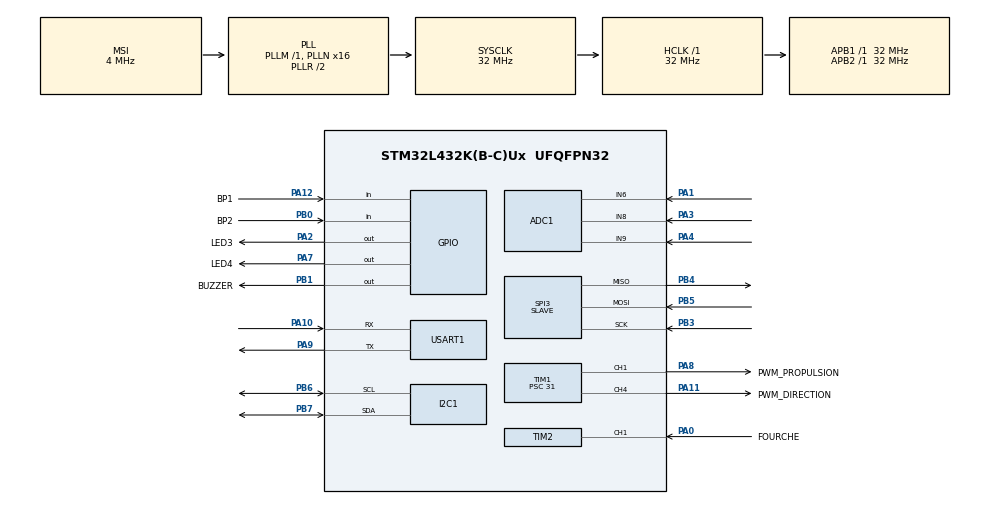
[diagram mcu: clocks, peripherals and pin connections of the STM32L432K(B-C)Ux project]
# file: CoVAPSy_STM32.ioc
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ADC1.Channel-0\#ChannelRegularConversion=ADC_CHANNEL_6
ADC1.Channel-1\#ChannelRegularConversion=ADC_CHANNEL_8
ADC1.Channel-2\#ChannelRegularConversion=ADC_CHANNEL_9
ADC1.ClockPrescaler=ADC_CLOCK_ASYNC_DIV1
ADC1.ContinuousConvMode=DISABLE
ADC1.DMAContinuousRequests=ENABLE
ADC1.DiscontinuousConvMode=DISABLE
ADC1.EOCSelection=ADC_EOC_SEQ_CONV
ADC1.NbrOfConversion=3
ADC1.NbrOfConversionFlag=1
ADC1.OffsetNumber-0\#ChannelRegularConversion=ADC_OFFSET_NONE
ADC1.OffsetNumber-1\#ChannelRegularConversion=ADC_OFFSET_NONE
ADC1.OffsetNumber-2\#ChannelRegularConversion=ADC_OFFSET_NONE
ADC1.Overrun=ADC_OVR_DATA_OVERWRITTEN
ADC1.Rank-0\#ChannelRegularConversion=1
ADC1.Rank-1\#ChannelRegularConversion=2
ADC1.Rank-2\#ChannelRegularConversion=3
ADC1.SamplingTime-0\#ChannelRegularConversion=ADC_SAMPLETIME_2CYCLES_5
ADC1.SamplingTime-1\#ChannelRegularConversion=ADC_SAMPLETIME_2CYCLES_5
ADC1.SamplingTime-2\#ChannelRegularConversion=ADC_SAMPLETIME_2CYCLES_5
ADC1.master=1
Dma.ADC1.0.Direction=DMA_PERIPH_TO_MEMORY
Dma.ADC1.0.Instance=DMA1_Channel1
Dma.ADC1.0.MemDataAlignment=DMA_MDATAALIGN_WORD
Dma.ADC1.0.MemInc=DMA_MINC_ENABLE
Dma.ADC1.0.Mode=DMA_CIRCULAR
Dma.ADC1.0.PeriphDataAlignment=DMA_PDATAALIGN_WORD
Dma.ADC1.0.PeriphInc=DMA_PINC_DISABLE
Dma.ADC1.0.Priority=DMA_PRIORITY_LOW
Dma.Request0=ADC1
Dma.Request1=SPI3_TX
Dma.Request2=SPI3_RX
Dma.SPI3_RX.2.Direction=DMA_PERIPH_TO_MEMORY
Dma.SPI3_RX.2.Instance=DMA2_Channel1
Dma.SPI3_RX.2.MemDataAlignment=DMA_MDATAALIGN_BYTE
Dma.SPI3_RX.2.MemInc=DMA_MINC_ENABLE
Dma.SPI3_RX.2.Mode=DMA_CIRCULAR
Dma.SPI3_RX.2.PeriphDataAlignment=DMA_PDATAALIGN_BYTE
Dma.SPI3_RX.2.PeriphInc=DMA_PINC_DISABLE
Dma.SPI3_RX.2.Priority=DMA_PRIORITY_LOW
Dma.SPI3_TX.1.Direction=DMA_MEMORY_TO_PERIPH
Dma.SPI3_TX.1.Instance=DMA2_Channel2
Dma.SPI3_TX.1.MemDataAlignment=DMA_MDATAALIGN_BYTE
Dma.SPI3_TX.1.MemInc=DMA_MINC_ENABLE
Dma.SPI3_TX.1.Mode=DMA_NORMAL
Dma.SPI3_TX.1.PeriphDataAlignment=DMA_PDATAALIGN_BYTE
Dma.SPI3_TX.1.PeriphInc=DMA_PINC_DISABLE
Dma.SPI3_TX.1.Priority=DMA_PRIORITY_LOW
I2C1.Timing=0x00707CBB
Mcu.Family=STM32L4
Mcu.Name=STM32L432K(B-C)Ux
Mcu.Package=UFQFPN32
NVIC.DMA1_Channel1_IRQn=true\:0\:0\:false\:false\:true\:false\:true\:true
NVIC.DMA2_Channel1_IRQn=true\:0\:0\:false\:false\:true\:false\:true\:true
NVIC.DMA2_Channel2_IRQn=true\:0\:0\:false\:false\:true\:false\:true\:true
NVIC.PriorityGroup=NVIC_PRIORITYGROUP_4
NVIC.TIM2_IRQn=true\:0\:0\:false\:false\:true\:true\:true\:true
NVIC.TIM6_DAC_IRQn=true\:0\:0\:false\:false\:true\:true\:true\:true
PA0.GPIO_Label=FOURCHE
PA0.Signal=S_TIM2_CH1
PA1.Signal=ADCx_IN6
PA10.Mode=Asynchronous
PA10.Signal=USART1_RX
PA11.GPIO_Label=PWM_DIRECTION
PA11.Signal=S_TIM1_CH4
PA12.GPIO_Label=BP1
PA12.Signal=GPIO_Input
PA13\ (JTMS-SWDIO).GPIO_Label=SWDIO
PA13\ (JTMS-SWDIO).Mode=Serial_Wire
PA13\ (JTMS-SWDIO).Signal=SYS_JTMS-SWDIO
PA14\ (JTCK-SWCLK).GPIO_Label=SWCLK
PA14\ (JTCK-SWCLK).Mode=Serial_Wire
PA14\ (JTCK-SWCLK).Signal=SYS_JTCK-SWCLK
PA15\ (JTDI).GPIO_Label=VCP_RX
PA15\ (JTDI).Signal=USART2_RX
PA2.GPIO_Label=LED3
PA2.Signal=GPIO_Output
PA3.Signal=ADCx_IN8
PA4.Signal=ADCx_IN9
PA7.GPIO_Label=LED4
PA7.Signal=GPIO_Output
PA8.GPIO_Label=PWM_PROPULSION
PA8.Signal=S_TIM1_CH1
PA9.Mode=Asynchronous
PA9.Signal=USART1_TX
PB0.GPIO_Label=BP2
PB0.Signal=GPIO_Input
PB1.GPIO_Label=BUZZER
PB1.Signal=GPIO_Output
PB3\ (JTDO-TRACESWO).Mode=Full_Duplex_Slave
PB3\ (JTDO-TRACESWO).Signal=SPI3_SCK
PB4\ (NJTRST).Mode=Full_Duplex_Slave
PB4\ (NJTRST).Signal=SPI3_MISO
PB5.Mode=Full_Duplex_Slave
PB5.Signal=SPI3_MOSI
PB6.Mode=I2C
PB6.Signal=I2C1_SCL
PB7.Mode=I2C
PB7.Signal=I2C1_SDA
PC14-OSC32_IN\ (PC14).Mode=LSE-External-Oscillator
PC14-OSC32_IN\ (PC14).Signal=RCC_OSC32_IN
PC15-OSC32_OUT\ (PC15).Mode=LSE-External-Oscillator
PC15-OSC32_OUT\ (PC15).Signal=RCC_OSC32_OUT
ProjectManager.HeapSize=0x200
ProjectManager.StackSize=0x400
ProjectManager.TargetToolchain=STM32CubeIDE
RCC.ADCFreq_Value=32000000
RCC.AHBFreq_Value=32000000
RCC.APB1Freq_Value=32000000
RCC.APB1TimFreq_Value=32000000
RCC.APB2Freq_Value=32000000
RCC.APB2TimFreq_Value=32000000
RCC.CortexFreq_Value=32000000
RCC.HCLKFreq_Value=32000000
RCC.HSE_VALUE=8000000
RCC.HSI16_VALUE=16000000
RCC.HSI48_VALUE=48000000
RCC.HSI_VALUE=16000000
RCC.MSI_VALUE=4000000
RCC.PLLMUL=RCC_PLLMUL_4
RCC.PLLN=16
RCC.PLLSAI1N=16
RCC.SYSCLKFreq_VALUE=32000000
RCC.SYSCLKSource=RCC_SYSCLKSOURCE_PLLCLK
RCC.USBFreq_Value=32000000
RCC.VCOOutputFreq_Value=64000000
SH.ADCx_IN6.0=ADC1_IN6,IN6-Single-Ended
SH.ADCx_IN8.0=ADC1_IN8,IN8-Single-Ended
SH.ADCx_IN9.0=ADC1_IN9,IN9-Single-Ended
SH.S_TIM1_CH1.0=TIM1_CH1,PWM Generation1 CH1
SH.S_TIM1_CH4.0=TIM1_CH4,PWM Generation4 CH4
SH.S_TIM2_CH1.0=TIM2_CH1,Input_Capture1_from_TI1
SPI3.DataSize=SPI_DATASIZE_8BIT
SPI3.Direction=SPI_DIRECTION_2LINES
SPI3.Mode=SPI_MODE_SLAVE
SPI3.VirtualType=VM_SLAVE
TIM1.Channel-PWM\ Generation1\ CH1=TIM_CHANNEL_1
TIM1.Channel-PWM\ Generation4\ CH4=TIM_CHANNEL_4
TIM1.Period=20000
TIM1.Prescaler=31
TIM1.Pulse-PWM\ Generation1\ CH1=1500
TIM1.Pulse-PWM\ Generation4\ CH4=1500
TIM2.Channel-Input_Capture1_from_TI1=TIM_CHANNEL_1
TIM2.ICPolarity_CH1=TIM_INPUTCHANNELPOLARITY_FALLING
TIM2.Prescaler=15
TIM6.Period=2272
TIM6.Prescaler=31
TIM7.Prescaler=31
USART1.VirtualMode-Asynchronous=VM_ASYNC
VP_CRC_VS_CRC.Mode=CRC_Activate
VP_TIM1_VS_ClockSourceINT.Mode=Internal
VP_TIM2_VS_ClockSourceINT.Mode=Internal
VP_TIM6_VS_ClockSourceINT.Mode=Enable_Timer
VP_TIM7_VS_ClockSourceINT.Mode=Enable_Timer
board=NUCLEO-L432KC

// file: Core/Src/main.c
/* USER CODE BEGIN Header */
/**
  ******************************************************************************
  * @file           : main.c
  * @brief          : Main program body
  ******************************************************************************
  * @attention
  *
  * Copyright (c) 2023 STMicroelectronics.
  * All rights reserved.
  *
  * This software is licensed under terms that can be found in the LICENSE file
  * in the root directory of this software component.
  * If no LICENSE file comes with this software, it is provided AS-IS.
  *
  ******************************************************************************
  */
/* USER CODE END Header */
#include "main.h"
#include "adc.h"
#include "crc.h"
#include "dma.h"
#include "i2c.h"
#include "spi.h"
#include "tim.h"
#include "usart.h"
#include "gpio.h"

/* USER CODE BEGIN Includes */
#include "CoVAPSy_buzzer.h"
#include "CoVAPSy_bno055.h"
#include "u8g.h"
#include "stdio.h"
#include <string.h>
#include "math.h"
/* USER CODE END Includes */

/* USER CODE BEGIN PD */
#define DISTANCE_1_TOUR_AXE_TRANSMISSION_MM 79.748
#define ADRES_SRF10 0x70
#define ADDRESS_TF051 0x3C
#define SPEED_DELTAT_THRESHOLD_MS 26
#define US_DELTAT_THRESHOLD_MS 4
#define US_SMOOTHING 0.1

/* USER CODE END PD */

/* USER CODE BEGIN PV */
uint32_t vitesse_mesuree_mm_s = 0;
uint32_t lectures_ADC[3];
uint8_t SPI_TxBuffer[16] = {0x35,0,0,0,0,0,0,0,0,0,0,0,0x55,0x55,0x55,0x55}; 	//buffer pour la transmission SPI
uint8_t SPI_RxBuffer[16] ={}; 					// Buffer pour la réception SPI
uint16_t yaw, distance_US_cm, US_value;
uint32_t mesure_vitesse_ms=0, mesure_US_ticks=0;
uint32_t elapsed_time_speed_ms, elapsed_time_us_ms;

static u8g_t u8g;
/* USER CODE END PV */

void SystemClock_Config(void);

/* USER CODE BEGIN 0 */

void CRC_Init(void) {

	//Enable CRC clock, then reset CRC buffer.
    __HAL_RCC_CRC_CLK_ENABLE();
    CRC->CR |= CRC_CR_RESET;
}

void SRF10_Init(void) {
	//Set correct ranges.
	uint8_t donnees_Tx_i2c[2];
	donnees_Tx_i2c[0]=0x02;
	donnees_Tx_i2c[1]=0xB;
	while (HAL_I2C_GetState(&hi2c1) != HAL_I2C_STATE_READY);
	HAL_I2C_Master_Transmit(&hi2c1, (uint16_t)ADRES_SRF10<<1, donnees_Tx_i2c, 2, 1000); // HAL should really be replaced by direct register access.
//	while (HAL_I2C_GetState(&hi2c1) != HAL_I2C_STATE_READY);
//	HAL_I2C_Master_Receive(&hi2c1, (uint16_t)ADRES_SRF10<<1, donnees_Rx_i2c, 1, 1);

	donnees_Tx_i2c[0]=0x01;
	donnees_Tx_i2c[1]=0x09;
	while (HAL_I2C_GetState(&hi2c1) != HAL_I2C_STATE_READY);
	HAL_I2C_Master_Transmit(&hi2c1, (uint16_t)ADRES_SRF10<<1, donnees_Tx_i2c, 2, 1000); // HAL should really be replaced by direct register access.
//	while (HAL_I2C_GetState(&hi2c1) != HAL_I2C_STATE_READY);
//	HAL_I2C_Master_Receive(&hi2c1, (uint16_t)ADRES_SRF10<<1, donnees_Rx_i2c, 1, 1);

}

uint8_t control =0;
void u8g_Delay(uint16_t val) {
    HAL_Delay(val);
}
void u8g_xMicroDelay(uint16_t val) {
    static uint32_t i, j;
    static uint32_t freq;
    freq = HAL_RCC_GetSysClockFreq() / 1000000;

    for (i = 0; i < val;) {
        for (j = 0; j < freq; ++j) {
            ++j;
        }
        ++i;
    }
}
void u8g_MicroDelay(void) {
    u8g_xMicroDelay(1);
}
void u8g_10MicroDelay(void) {
    u8g_xMicroDelay(10);
}

uint8_t u8g_com_arm_stm32_sh_i2c_fn(u8g_t *u8g, uint8_t msg, uint8_t arg_val, void *arg_ptr) {
    switch (msg) {
    case U8G_COM_MSG_STOP:
        break;

    case U8G_COM_MSG_INIT:
        u8g_MicroDelay();
        break;

    case U8G_COM_MSG_ADDRESS:
        if (arg_val == 0) {
            control = 0;
        } else {
            control = 0x40;
        }
        u8g_10MicroDelay();
        break;

    case U8G_COM_MSG_WRITE_BYTE: {
        HAL_I2C_Mem_Write(&hi2c1, ADDRESS_TF051<<1, control, 1, &arg_val, 1, 10000);
    }
        break;

    case U8G_COM_MSG_WRITE_SEQ:
    case U8G_COM_MSG_WRITE_SEQ_P: {
        HAL_I2C_Mem_Write(&hi2c1, ADDRESS_TF051<<1, control, 1, arg_ptr, arg_val, 10000);
    }

        break;
    }
    return 1;
}

/* USER CODE END 0 */

int main(void)
{
  /* USER CODE BEGIN 1 */
//	uint32_t bp1,bp2,bp1_old=0,bp2_old=0;
	uint8_t donnees_Tx_i2c[2];
	uint8_t donnees_Rx_i2c[2];
//	char text[50];
  /* USER CODE END 1 */

  /* MCU Configuration--------------------------------------------------------*/

  /* Reset of all peripherals, Initializes the Flash interface and the Systick. */
  HAL_Init();

  /* Configure the system clock */
  SystemClock_Config();

  /* Initialize all configured peripherals */
  MX_GPIO_Init();
  MX_DMA_Init();
  MX_ADC1_Init();
  MX_SPI3_Init();
  MX_TIM1_Init();
  MX_USART1_UART_Init();
  MX_TIM2_Init();
  MX_I2C1_Init();
  MX_TIM6_Init();
  MX_TIM7_Init();

//  MX_CRC_Init();

  /* USER CODE BEGIN 2 */

  HAL_TIM_Base_Start_IT(&htim2);
  HAL_TIM_IC_Start_IT(&htim2, TIM_CHANNEL_1);
  HAL_TIM_Base_Start(&htim7);

  buzzer_start();
  buzzer_gamme();

  CRC_Init();

  HAL_GPIO_TogglePin(LED4_GPIO_Port, LED4_Pin);
  HAL_GPIO_TogglePin(LED3_GPIO_Port, LED3_Pin);
  HAL_Delay(10);
  HAL_GPIO_TogglePin(LED4_GPIO_Port, LED4_Pin);

  bno055_init();
  SRF10_Init();

  u8g_InitComFn(&u8g, &u8g_dev_sh1106_128x64_i2c, u8g_com_arm_stm32_sh_i2c_fn);
  u8g_Begin(&u8g);

  u8g_FirstPage(&u8g);
  		  do {
  			  u8g_SetFont(&u8g, u8g_font_profont29);
  			  u8g_DrawStr(&u8g, 0, 29, "SORBONNE");
  			  u8g_DrawStr(&u8g, 0, 59, "BOLIDE 1");
          // u8g_DrawStr(&u8g, 0, 59, "BOLIDE 2");
  } while (u8g_NextPage(&u8g));

  uint16_t number = 0;
  /* USER CODE END 2 */

  /* Infinite loop */
  /* USER CODE BEGIN WHILE */
  buzzer_stop();
  while (1)
  {
	  //démarrage de la conversion ADC des 3 canaux
	  HAL_ADC_Start_DMA(&hadc1, lectures_ADC, 3);

	  //lecture ultrason
	  elapsed_time_us_ms = HAL_GetTick() - mesure_US_ticks;
	  if (elapsed_time_us_ms > US_DELTAT_THRESHOLD_MS) {
		  HAL_GPIO_TogglePin(LED4_GPIO_Port, LED4_Pin);
		  donnees_Tx_i2c[0]=0x02;
		  while (HAL_I2C_GetState(&hi2c1) != HAL_I2C_STATE_READY);
		  HAL_I2C_Master_Transmit(&hi2c1, (uint16_t)ADRES_SRF10<<1, donnees_Tx_i2c, 1, 1000); // HAL should really be replaced by direct register access.
		  while (HAL_I2C_GetState(&hi2c1) != HAL_I2C_STATE_READY);
		  HAL_I2C_Master_Receive(&hi2c1, (uint16_t)ADRES_SRF10<<1, donnees_Rx_i2c, 2, 1);
		  if (donnees_Rx_i2c[0] != 0x06) {
			  US_value = (uint16_t)(donnees_Rx_i2c[0]<<8) + donnees_Rx_i2c[1];
			  distance_US_cm = US_value * US_SMOOTHING + (1 - US_SMOOTHING) * distance_US_cm;

		  }
	  }

	  yaw = bno055_lecture_16bits(EULER_HEADING_16bits);

	  // Using SysTick instead of a Hardware timer because we don't need sub ms accuracy.

	  //Change the SPEED_DELTAT_THRESHOLD_MS to a higher value if you want to detect lower speeds.
	  //Default value of 26 ms is enough to detect lowest powered reverse speed.
	  //BTW, the speed is not signed, so you need to take into account the fact that the car can move backwards.

	  elapsed_time_speed_ms = HAL_GetTick() - mesure_vitesse_ms;
	  if(elapsed_time_speed_ms > SPEED_DELTAT_THRESHOLD_MS)
	  {
		  vitesse_mesuree_mm_s = 0;
	  }

	  //Demande de lecture ultrason
	  if (elapsed_time_us_ms > US_DELTAT_THRESHOLD_MS) {
		  	  donnees_Tx_i2c[0]=0x00;
		  	  donnees_Tx_i2c[1]=0x51;
		  	  while (HAL_I2C_GetState(&hi2c1) != HAL_I2C_STATE_READY);
		  	  HAL_I2C_Master_Transmit(&hi2c1, (uint16_t)ADRES_SRF10<<1, donnees_Tx_i2c, 2, 1000);
		  	  mesure_US_ticks = HAL_GetTick();
	  }

	  //attente de la fin de la conversion ADC, si jamais ce n'est pas encore fini
	  HAL_ADC_PollForConversion(&hadc1, 1);

	  number++;

	  //Reset CRC;
	  CRC->CR = 1;

	  SPI_TxBuffer[0] = (uint8_t)((lectures_ADC[2] >> 8) & 0xFF);
	  SPI_TxBuffer[1] = (uint8_t)(lectures_ADC[2] & 0xFF); //battery_voltage (unit ?)
	  SPI_TxBuffer[2] = (uint8_t)((yaw >> 8) & 0xFF);
	  SPI_TxBuffer[3] = (uint8_t)(yaw & 0xFF);

	  CRC->DR = (uint32_t)((((uint16_t) lectures_ADC[2] << 16)) | ((uint16_t) yaw));

	  SPI_TxBuffer[4] = (uint8_t)((((uint16_t)(lectures_ADC[0])) >> 8) & 0xFF);
	  SPI_TxBuffer[5] = (uint8_t)(((uint16_t)(lectures_ADC[0])) & 0xFF);    // Octet de poids faible de l'IR gauche
	  SPI_TxBuffer[6] = (uint8_t)((((uint16_t)(lectures_ADC[1])) >> 8) & 0xFF);
	  SPI_TxBuffer[7] = (uint8_t)(((uint16_t)(lectures_ADC[1])) & 0xFF);    // Octet de poids faible de l'IR droit

	  CRC->DR = (uint32_t)(((uint16_t) lectures_ADC[0] << 16) | ((uint16_t) lectures_ADC[1])); //Put 4 next bytes in the CRC register

	  SPI_TxBuffer[8] = (uint8_t)((vitesse_mesuree_mm_s >> 8) & 0xFF); // Octet de poids fort de vitesse_mesuree_mm_s
	  SPI_TxBuffer[9] = (uint8_t)(vitesse_mesuree_mm_s & 0xFF);    // Octet de poids faible de vitesse_mesuree_mm_s
	  SPI_TxBuffer[10] = (uint8_t)((distance_US_cm >> 8) & 0xFF);
	  SPI_TxBuffer[11] = (uint8_t)((distance_US_cm &0xFF));

	  CRC->DR = (uint32_t)(((uint16_t) vitesse_mesuree_mm_s << 16) | ((uint16_t) distance_US_cm));

	  uint32_t checksum = CRC->DR; //Read from register to get computer value

	  //Send the checksum over SPI.
	  SPI_TxBuffer[15] = (uint8_t)(checksum & 0xFF);
	  SPI_TxBuffer[14] = (uint8_t)((checksum >> 8) & 0xFF);
	  SPI_TxBuffer[13] = (uint8_t)((checksum >> 16) & 0xFF);
	  SPI_TxBuffer[12] = (uint8_t)((checksum >> 24) & 0xFF);

	  HAL_SPI_Transmit(&hspi3, (uint8_t *)SPI_TxBuffer, 16,10);
	  HAL_GPIO_TogglePin(LED3_GPIO_Port, LED3_Pin);

	  /**
	  ******************************************************************************
	  * THE FOLLOWING BIT OF CODE IS NECESSARY TO FLUSH THE FIFO BUFFER
	  * THIS IS REALLY LOW LEVEL STUFF, AND IT TOOK ME AGES TO FIGURE OUT
	  * DO NOT DELETE THIS IF YOU DON'T HAVE AN ACTUAL SOLUTION, REALLY,
	  * YOU'RE GOING TO PULL YOUR HAIR OUT TRYING TO FIX THE MESS IT WILL
	  * INEVITABLY CREATE. PROCEED AT YOUR OWN RISK
	  ******************************************************************************
	  */
	  __HAL_RCC_SPI3_FORCE_RESET();
	  __HAL_RCC_SPI3_RELEASE_RESET();
	  MX_SPI3_Init();

    /* USER CODE END WHILE */

  }
}

void SystemClock_Config(void)
{
  RCC_OscInitTypeDef RCC_OscInitStruct = {0};
  RCC_ClkInitTypeDef RCC_ClkInitStruct = {0};

  /** Configure the main internal regulator output voltage
  */
  if (HAL_PWREx_ControlVoltageScaling(PWR_REGULATOR_VOLTAGE_SCALE1) != HAL_OK)
  {
    Error_Handler();
  }

  /** Configure LSE Drive Capability
  */
  HAL_PWR_EnableBkUpAccess();
  __HAL_RCC_LSEDRIVE_CONFIG(RCC_LSEDRIVE_LOW);

  /** Initializes the RCC Oscillators according to the specified parameters
  * in the RCC_OscInitTypeDef structure.
  */
  RCC_OscInitStruct.OscillatorType = RCC_OSCILLATORTYPE_LSE|RCC_OSCILLATORTYPE_MSI;
  RCC_OscInitStruct.LSEState = RCC_LSE_ON;
  RCC_OscInitStruct.MSIState = RCC_MSI_ON;
  RCC_OscInitStruct.MSICalibrationValue = 0;
  RCC_OscInitStruct.MSIClockRange = RCC_MSIRANGE_6;
  RCC_OscInitStruct.PLL.PLLState = RCC_PLL_ON;
  RCC_OscInitStruct.PLL.PLLSource = RCC_PLLSOURCE_MSI;
  RCC_OscInitStruct.PLL.PLLM = 1;
  RCC_OscInitStruct.PLL.PLLN = 16;
  RCC_OscInitStruct.PLL.PLLP = RCC_PLLP_DIV7;
  RCC_OscInitStruct.PLL.PLLQ = RCC_PLLQ_DIV2;
  RCC_OscInitStruct.PLL.PLLR = RCC_PLLR_DIV2;
  if (HAL_RCC_OscConfig(&RCC_OscInitStruct) != HAL_OK)
  {
    Error_Handler();
  }

  /** Initializes the CPU, AHB and APB buses clocks
  */
  RCC_ClkInitStruct.ClockType = RCC_CLOCKTYPE_HCLK|RCC_CLOCKTYPE_SYSCLK
                              |RCC_CLOCKTYPE_PCLK1|RCC_CLOCKTYPE_PCLK2;
  RCC_ClkInitStruct.SYSCLKSource = RCC_SYSCLKSOURCE_PLLCLK;
  RCC_ClkInitStruct.AHBCLKDivider = RCC_SYSCLK_DIV1;
  RCC_ClkInitStruct.APB1CLKDivider = RCC_HCLK_DIV1;
  RCC_ClkInitStruct.APB2CLKDivider = RCC_HCLK_DIV1;

  if (HAL_RCC_ClockConfig(&RCC_ClkInitStruct, FLASH_LATENCY_1) != HAL_OK)
  {
    Error_Handler();
  }

  /** Enable MSI Auto calibration
  */
  HAL_RCCEx_EnableMSIPLLMode();
}

/* USER CODE BEGIN 4 */
void HAL_TIM_IC_CaptureCallback(TIM_HandleTypeDef* htim)
{
	static uint32_t mesure_precedente_us=0, mesure_us, indice=0, i;
	static uint32_t tableau_intervalles_us[16]={};
	static float coefficient_distance_par_intervalle_um = DISTANCE_1_TOUR_AXE_TRANSMISSION_MM *1000 / 16.0;
	static uint32_t somme_intervalles_us = 0;
	uint32_t nb_intervalles=0;
	//	HAL_GPIO_TogglePin(LED3_GPIO_Port, LED3_Pin);
	mesure_us = TIM2->CCR1; // ou TIM2->CCR1
	mesure_vitesse_ms = HAL_GetTick();
	uint32_t delta_us = mesure_us-mesure_precedente_us;

	if((delta_us) >= 300) //si mesure cohérente (pas un glitch):
	{
		if((mesure_us > (mesure_precedente_us+100000)) || ((mesure_us-100000) > mesure_precedente_us)) //cas d'un nouveau départ (the second term is for overflow)
		{
			memset(tableau_intervalles_us, 0, sizeof(tableau_intervalles_us));
			indice=0;
		}
		else //cas où on tourne depuis plus d'un intervalle
		{
			tableau_intervalles_us[indice] = delta_us; //on sauvegarde la nouvelle mesure dans le tableau
			//On fait une moyenne sur 10 ms au plus ou 16 valeurs.
			somme_intervalles_us = 0;
			i= indice;

			do{
				if(!tableau_intervalles_us[i])
						break;
				somme_intervalles_us += tableau_intervalles_us[i];

				i = (i - 1)%16;

				nb_intervalles++;

			}while ((somme_intervalles_us<10000) && (nb_intervalles < 16));

			indice = (indice+1)%16; // on incrémente l'indice avec retour à 0 pour indice = 16

			vitesse_mesuree_mm_s = 1000 * coefficient_distance_par_intervalle_um * nb_intervalles / somme_intervalles_us;
		}
		mesure_precedente_us = mesure_us;
	}
}

void HAL_TIM_PeriodElapsedCallback(TIM_HandleTypeDef* htim)
{
	HAL_GPIO_TogglePin(BUZZER_GPIO_Port, BUZZER_Pin);
}

/* USER CODE END 4 */

void Error_Handler(void)
{
  __disable_irq();
  while (1)
  {
  }
}
